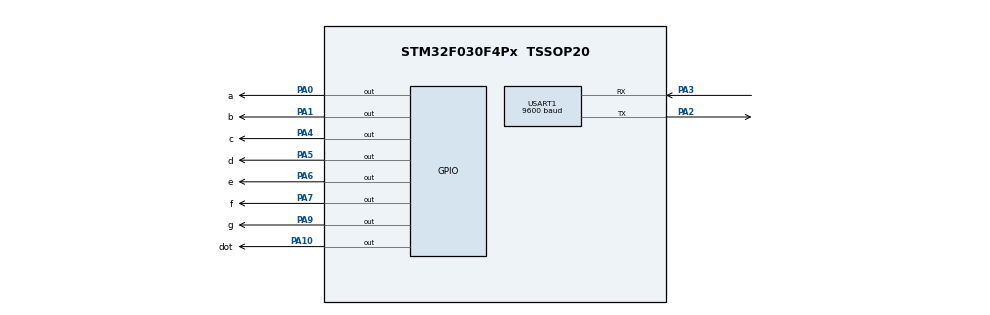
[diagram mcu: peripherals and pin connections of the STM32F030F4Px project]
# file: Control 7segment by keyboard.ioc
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Mcu.Family=STM32F0
Mcu.Name=STM32F030F4Px
Mcu.Package=TSSOP20
PA0.GPIO_Label=a
PA0.Signal=GPIO_Output
PA1.GPIO_Label=b
PA1.Signal=GPIO_Output
PA10.GPIO_Label=dot
PA10.Signal=GPIO_Output
PA2.Mode=Asynchronous
PA2.Signal=USART1_TX
PA3.Mode=Asynchronous
PA3.Signal=USART1_RX
PA4.GPIO_Label=c
PA4.Signal=GPIO_Output
PA5.GPIO_Label=d
PA5.Signal=GPIO_Output
PA6.GPIO_Label=e
PA6.Signal=GPIO_Output
PA7.GPIO_Label=f
PA7.Signal=GPIO_Output
PA9.GPIO_Label=g
PA9.Signal=GPIO_Output
ProjectManager.HeapSize=0x200
ProjectManager.StackSize=0x400
ProjectManager.TargetToolchain=STM32CubeIDE
USART1.BaudRate=9600
USART1.VirtualMode-Asynchronous=VM_ASYNC
board=custom

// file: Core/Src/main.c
/* USER CODE BEGIN Header */
/**
  ******************************************************************************
  * @file           : main.c
  * @brief          : Main program body
  ******************************************************************************
  * @attention
  *
  * Copyright (c) 2024 STMicroelectronics.
  * All rights reserved.
  *
  * This software is licensed under terms that can be found in the LICENSE file
  * in the root directory of this software component.
  * If no LICENSE file comes with this software, it is provided AS-IS.
  *
  ******************************************************************************
  */
/* USER CODE END Header */
#include "main.h"

UART_HandleTypeDef huart1;

void SystemClock_Config(void);
static void MX_GPIO_Init(void);
static void MX_USART1_UART_Init(void);

int main(void)
{

  /* MCU Configuration--------------------------------------------------------*/

  /* Reset of all peripherals, Initializes the Flash interface and the Systick. */
  HAL_Init();

  /* Configure the system clock */
  SystemClock_Config();

  /* Initialize all configured peripherals */
  MX_GPIO_Init();
  MX_USART1_UART_Init();
  /* USER CODE BEGIN 2 */
   uint8_t UART1_rxBuffer[2] = {0};;
  /* USER CODE END 2 */

  /* Infinite loop */
  while (1)
  {

    /* USER CODE BEGIN 3 */
	  HAL_UART_Receive (&huart1, UART1_rxBuffer, 2, 100);

	  switch (UART1_rxBuffer[0]){
	      case '0':
					// statements
	    	          //0
					  HAL_GPIO_WritePin(GPIOA, a_Pin, GPIO_PIN_RESET);
					  HAL_GPIO_WritePin(GPIOA, b_Pin, GPIO_PIN_RESET);
					  HAL_GPIO_WritePin(GPIOA, c_Pin, GPIO_PIN_RESET);
					  HAL_GPIO_WritePin(GPIOA, d_Pin, GPIO_PIN_RESET);
					  HAL_GPIO_WritePin(GPIOA, e_Pin, GPIO_PIN_RESET);
					  HAL_GPIO_WritePin(GPIOA, f_Pin, GPIO_PIN_RESET);
					  HAL_GPIO_WritePin(GPIOA, g_Pin, GPIO_PIN_SET);
					  HAL_GPIO_WritePin(GPIOA, dot_Pin, GPIO_PIN_SET);
	               break;

	      case '1':
	      	        // statements
					  //1
					  HAL_GPIO_WritePin(GPIOA, a_Pin, GPIO_PIN_SET);
					  HAL_GPIO_WritePin(GPIOA, b_Pin, GPIO_PIN_RESET);
					  HAL_GPIO_WritePin(GPIOA, c_Pin, GPIO_PIN_RESET);
					  HAL_GPIO_WritePin(GPIOA, d_Pin, GPIO_PIN_SET);
					  HAL_GPIO_WritePin(GPIOA, e_Pin, GPIO_PIN_SET);
					  HAL_GPIO_WritePin(GPIOA, f_Pin, GPIO_PIN_SET);
					  HAL_GPIO_WritePin(GPIOA, g_Pin, GPIO_PIN_SET);
					  HAL_GPIO_WritePin(GPIOA, dot_Pin, GPIO_PIN_SET);

	      	        break;
	      case '2':
	      	        // statements
					  //2
					  HAL_GPIO_WritePin(GPIOA, a_Pin, GPIO_PIN_RESET);
					  HAL_GPIO_WritePin(GPIOA, b_Pin, GPIO_PIN_RESET);
					  HAL_GPIO_WritePin(GPIOA, c_Pin, GPIO_PIN_SET);
					  HAL_GPIO_WritePin(GPIOA, d_Pin, GPIO_PIN_RESET);
					  HAL_GPIO_WritePin(GPIOA, e_Pin, GPIO_PIN_RESET);
					  HAL_GPIO_WritePin(GPIOA, f_Pin, GPIO_PIN_SET);
					  HAL_GPIO_WritePin(GPIOA, g_Pin, GPIO_PIN_RESET);
					  HAL_GPIO_WritePin(GPIOA, dot_Pin, GPIO_PIN_SET);
	      	        break;
	      case '3':
	      	        // statements
					  //3
					  HAL_GPIO_WritePin(GPIOA, a_Pin, GPIO_PIN_RESET);
					  HAL_GPIO_WritePin(GPIOA, b_Pin, GPIO_PIN_RESET);
					  HAL_GPIO_WritePin(GPIOA, c_Pin, GPIO_PIN_RESET);
					  HAL_GPIO_WritePin(GPIOA, d_Pin, GPIO_PIN_RESET);
					  HAL_GPIO_WritePin(GPIOA, e_Pin, GPIO_PIN_SET);
					  HAL_GPIO_WritePin(GPIOA, f_Pin, GPIO_PIN_SET);
					  HAL_GPIO_WritePin(GPIOA, g_Pin, GPIO_PIN_RESET);
					  HAL_GPIO_WritePin(GPIOA, dot_Pin, GPIO_PIN_SET);
	      	        break;
	      case '4':
	      	        // statements
					  //4
					  HAL_GPIO_WritePin(GPIOA, a_Pin, GPIO_PIN_SET);
					  HAL_GPIO_WritePin(GPIOA, b_Pin, GPIO_PIN_RESET);
					  HAL_GPIO_WritePin(GPIOA, c_Pin, GPIO_PIN_RESET);
					  HAL_GPIO_WritePin(GPIOA, d_Pin, GPIO_PIN_SET);
					  HAL_GPIO_WritePin(GPIOA, e_Pin, GPIO_PIN_SET);
					  HAL_GPIO_WritePin(GPIOA, f_Pin, GPIO_PIN_RESET);
					  HAL_GPIO_WritePin(GPIOA, g_Pin, GPIO_PIN_RESET);
					  HAL_GPIO_WritePin(GPIOA, dot_Pin, GPIO_PIN_SET);
	      	        break;
	      case '5':
	      	        // statements
					  //5
					  HAL_GPIO_WritePin(GPIOA, a_Pin, GPIO_PIN_RESET);
					  HAL_GPIO_WritePin(GPIOA, b_Pin, GPIO_PIN_SET);
					  HAL_GPIO_WritePin(GPIOA, c_Pin, GPIO_PIN_RESET);
					  HAL_GPIO_WritePin(GPIOA, d_Pin, GPIO_PIN_RESET);
					  HAL_GPIO_WritePin(GPIOA, e_Pin, GPIO_PIN_SET);
					  HAL_GPIO_WritePin(GPIOA, f_Pin, GPIO_PIN_RESET);
					  HAL_GPIO_WritePin(GPIOA, g_Pin, GPIO_PIN_RESET);
					  HAL_GPIO_WritePin(GPIOA, dot_Pin, GPIO_PIN_SET);
	      	        break;
	      case '6':
	      	        // statements
					  //6
					  HAL_GPIO_WritePin(GPIOA, a_Pin, GPIO_PIN_RESET);
					  HAL_GPIO_WritePin(GPIOA, b_Pin, GPIO_PIN_SET);
					  HAL_GPIO_WritePin(GPIOA, c_Pin, GPIO_PIN_RESET);
					  HAL_GPIO_WritePin(GPIOA, d_Pin, GPIO_PIN_RESET);
					  HAL_GPIO_WritePin(GPIOA, e_Pin, GPIO_PIN_RESET);
					  HAL_GPIO_WritePin(GPIOA, f_Pin, GPIO_PIN_RESET);
					  HAL_GPIO_WritePin(GPIOA, g_Pin, GPIO_PIN_RESET);
					  HAL_GPIO_WritePin(GPIOA, dot_Pin, GPIO_PIN_SET);
	      	        break;
	      case '7':
	      	        // statements
					  //7
					  HAL_GPIO_WritePin(GPIOA, a_Pin, GPIO_PIN_RESET);
					  HAL_GPIO_WritePin(GPIOA, b_Pin, GPIO_PIN_RESET);
					  HAL_GPIO_WritePin(GPIOA, c_Pin, GPIO_PIN_RESET);
					  HAL_GPIO_WritePin(GPIOA, d_Pin, GPIO_PIN_SET);
					  HAL_GPIO_WritePin(GPIOA, e_Pin, GPIO_PIN_SET);
					  HAL_GPIO_WritePin(GPIOA, f_Pin, GPIO_PIN_SET);
					  HAL_GPIO_WritePin(GPIOA, g_Pin, GPIO_PIN_SET);
					  HAL_GPIO_WritePin(GPIOA, dot_Pin, GPIO_PIN_SET);
	      	        break;
	      case '8':
	      	        // statements
					  //8
					  HAL_GPIO_WritePin(GPIOA, a_Pin, GPIO_PIN_RESET);
					  HAL_GPIO_WritePin(GPIOA, b_Pin, GPIO_PIN_RESET);
					  HAL_GPIO_WritePin(GPIOA, c_Pin, GPIO_PIN_RESET);
					  HAL_GPIO_WritePin(GPIOA, d_Pin, GPIO_PIN_RESET);
					  HAL_GPIO_WritePin(GPIOA, e_Pin, GPIO_PIN_RESET);
					  HAL_GPIO_WritePin(GPIOA, f_Pin, GPIO_PIN_RESET);
					  HAL_GPIO_WritePin(GPIOA, g_Pin, GPIO_PIN_RESET);
					  HAL_GPIO_WritePin(GPIOA, dot_Pin, GPIO_PIN_SET);
	      	        break;
	      case '9':
	      	      	// statements
					  //9
					  HAL_GPIO_WritePin(GPIOA, a_Pin, GPIO_PIN_RESET);
					  HAL_GPIO_WritePin(GPIOA, b_Pin, GPIO_PIN_RESET);
					  HAL_GPIO_WritePin(GPIOA, c_Pin, GPIO_PIN_RESET);
					  HAL_GPIO_WritePin(GPIOA, d_Pin, GPIO_PIN_RESET);
					  HAL_GPIO_WritePin(GPIOA, e_Pin, GPIO_PIN_SET);
					  HAL_GPIO_WritePin(GPIOA, f_Pin, GPIO_PIN_RESET);
					  HAL_GPIO_WritePin(GPIOA, g_Pin, GPIO_PIN_RESET);
					  HAL_GPIO_WritePin(GPIOA, dot_Pin, GPIO_PIN_SET);
	      	        break;

	      default:
					  HAL_GPIO_WritePin(GPIOA, a_Pin, GPIO_PIN_SET);
					  HAL_GPIO_WritePin(GPIOA, b_Pin, GPIO_PIN_SET);
					  HAL_GPIO_WritePin(GPIOA, c_Pin, GPIO_PIN_SET);
					  HAL_GPIO_WritePin(GPIOA, d_Pin, GPIO_PIN_SET);
					  HAL_GPIO_WritePin(GPIOA, e_Pin, GPIO_PIN_SET);
					  HAL_GPIO_WritePin(GPIOA, f_Pin, GPIO_PIN_SET);
					  HAL_GPIO_WritePin(GPIOA, g_Pin, GPIO_PIN_SET);
	        // default statements
	  }

  }
  /* USER CODE END 3 */
}

void SystemClock_Config(void)
{
  RCC_OscInitTypeDef RCC_OscInitStruct = {0};
  RCC_ClkInitTypeDef RCC_ClkInitStruct = {0};
  RCC_PeriphCLKInitTypeDef PeriphClkInit = {0};

  /** Initializes the RCC Oscillators according to the specified parameters
  * in the RCC_OscInitTypeDef structure.
  */
  RCC_OscInitStruct.OscillatorType = RCC_OSCILLATORTYPE_HSI;
  RCC_OscInitStruct.HSIState = RCC_HSI_ON;
  RCC_OscInitStruct.HSICalibrationValue = RCC_HSICALIBRATION_DEFAULT;
  RCC_OscInitStruct.PLL.PLLState = RCC_PLL_NONE;
  if (HAL_RCC_OscConfig(&RCC_OscInitStruct) != HAL_OK)
  {
    Error_Handler();
  }

  /** Initializes the CPU, AHB and APB buses clocks
  */
  RCC_ClkInitStruct.ClockType = RCC_CLOCKTYPE_HCLK|RCC_CLOCKTYPE_SYSCLK
                              |RCC_CLOCKTYPE_PCLK1;
  RCC_ClkInitStruct.SYSCLKSource = RCC_SYSCLKSOURCE_HSI;
  RCC_ClkInitStruct.AHBCLKDivider = RCC_SYSCLK_DIV1;
  RCC_ClkInitStruct.APB1CLKDivider = RCC_HCLK_DIV1;

  if (HAL_RCC_ClockConfig(&RCC_ClkInitStruct, FLASH_LATENCY_0) != HAL_OK)
  {
    Error_Handler();
  }
  PeriphClkInit.PeriphClockSelection = RCC_PERIPHCLK_USART1;
  PeriphClkInit.Usart1ClockSelection = RCC_USART1CLKSOURCE_PCLK1;
  if (HAL_RCCEx_PeriphCLKConfig(&PeriphClkInit) != HAL_OK)
  {
    Error_Handler();
  }
}

static void MX_USART1_UART_Init(void)
{

  huart1.Instance = USART1;
  huart1.Init.BaudRate = 9600;
  huart1.Init.WordLength = UART_WORDLENGTH_8B;
  huart1.Init.StopBits = UART_STOPBITS_1;
  huart1.Init.Parity = UART_PARITY_NONE;
  huart1.Init.Mode = UART_MODE_TX_RX;
  huart1.Init.HwFlowCtl = UART_HWCONTROL_NONE;
  huart1.Init.OverSampling = UART_OVERSAMPLING_16;
  huart1.Init.OneBitSampling = UART_ONE_BIT_SAMPLE_DISABLE;
  huart1.AdvancedInit.AdvFeatureInit = UART_ADVFEATURE_NO_INIT;
  if (HAL_UART_Init(&huart1) != HAL_OK)
  {
    Error_Handler();
  }

}

static void MX_GPIO_Init(void)
{
  GPIO_InitTypeDef GPIO_InitStruct = {0};

  /* GPIO Ports Clock Enable */
  __HAL_RCC_GPIOA_CLK_ENABLE();

  /*Configure GPIO pin Output Level */
  HAL_GPIO_WritePin(GPIOA, a_Pin|b_Pin|c_Pin|d_Pin
                          |e_Pin|f_Pin|g_Pin|dot_Pin, GPIO_PIN_RESET);

  /*Configure GPIO pins : a_Pin b_Pin c_Pin d_Pin
                           e_Pin f_Pin g_Pin dot_Pin */
  GPIO_InitStruct.Pin = a_Pin|b_Pin|c_Pin|d_Pin
                          |e_Pin|f_Pin|g_Pin|dot_Pin;
  GPIO_InitStruct.Mode = GPIO_MODE_OUTPUT_PP;
  GPIO_InitStruct.Pull = GPIO_NOPULL;
  GPIO_InitStruct.Speed = GPIO_SPEED_FREQ_LOW;
  HAL_GPIO_Init(GPIOA, &GPIO_InitStruct);

}

void Error_Handler(void)
{
  __disable_irq();
  while (1)
  {
  }
}
